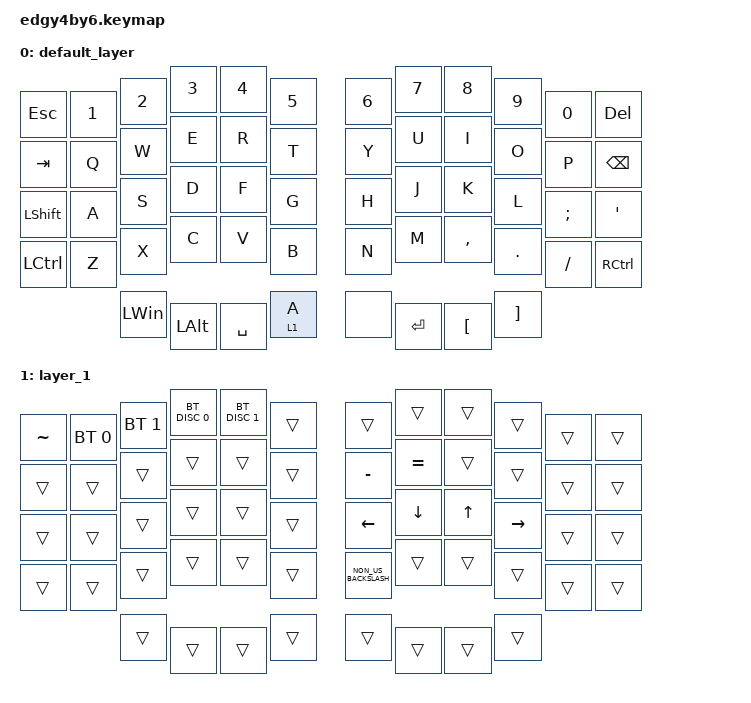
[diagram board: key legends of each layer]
// This file was generated from a template. Edit it to match your keyboard.
// See https://zmk.dev/docs/development/hardware-integration/new-shield for more instructions.

#include <behaviors.dtsi>
#include <dt-bindings/zmk/bt.h>
#include <dt-bindings/zmk/keys.h>

/ {
    behaviors {
        studio_unlock: studio_unlock {
            compatible = "zmk,behavior-studio-unlock";
            label = "STUDIO_UNLOCK";
            #binding-cells = <0>;
        };
    };

    keymap {
        compatible = "zmk,keymap";

        default_layer {
            bindings = <
&kp ESCAPE      &kp NUMBER_1  &kp NUMBER_2  &kp NUMBER_3  &kp NUMBER_4  &kp N5   &kp NUMBER_6  &kp N7      &kp N8     &kp N9      &kp N0         &kp DELETE
&kp TAB         &kp Q         &kp W         &kp E         &kp R         &kp T    &kp Y         &kp U       &kp I      &kp O       &kp P          &kp BACKSPACE
&kp LEFT_SHIFT  &kp A         &kp S         &kp D         &kp F         &kp G    &kp H         &kp J       &kp K      &kp L       &kp SEMICOLON  &kp SQT
&kp LCTRL       &kp Z         &kp X         &kp C         &kp V         &kp B    &kp N         &kp M       &kp COMMA  &kp PERIOD  &kp SLASH      &kp RIGHT_CONTROL
                              &kp LEFT_WIN  &kp LEFT_ALT  &kp SPACE     &lt 1 A  &none         &kp RETURN  &kp LBKT   &kp RBKT
            >;
        };

        layer_1 {
            bindings = <
&kp TILDE  &bt BT_SEL 0  &bt BT_SEL 1  &bt BT_DISC 0  &bt BT_DISC 1  &trans  &trans                &trans          &trans        &trans           &trans  &trans
&trans     &trans        &trans        &trans         &trans         &trans  &kp MINUS             &kp EQUAL       &trans        &trans           &trans  &trans
&trans     &trans        &trans        &trans         &trans         &trans  &kp LEFT_ARROW        &kp DOWN_ARROW  &kp UP_ARROW  &kp RIGHT_ARROW  &trans  &trans
&trans     &trans        &trans        &trans         &trans         &trans  &kp NON_US_BACKSLASH  &trans          &trans        &trans           &trans  &trans
                         &trans        &trans         &trans         &trans  &trans                &trans          &trans        &trans
            >;
        };
    };
};
